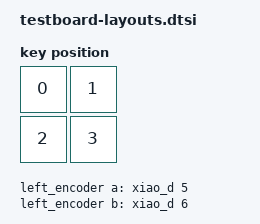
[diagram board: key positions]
// See https://zmk.dev/docs/development/hardware-integration/physical-layouts
// for how to configure this.

#include <physical_layouts.dtsi>

/ {
    default_layout: default_layout {
        compatible = "zmk,physical-layout";
        display-name = "Default Layout";
        transform = <&default_transform>;
        kscan = <&kscan>;

        // Edit this to define the positions and sizes of the keys, or remove it
        // if your keyboard will not support ZMK Studio.
        // https://zmk.dev/docs/development/hardware-integration/physical-layouts#optional-keys-property
        keys  //                     w   h    x    y     rot    rx    ry
            = <&key_physical_attrs 100 100    0    0       0     0     0>
            , <&key_physical_attrs 100 100  100    0       0     0     0>
            , <&key_physical_attrs 100 100    0  100       0     0     0>
            , <&key_physical_attrs 100 100  100  100       0     0     0>
            ;
    };
};

left_encoder: encoder_left {
    compatible = "alps,ec11";
    a-gpios = <&xiao_d 5 (GPIO_ACTIVE_HIGH | GPIO_PULL_UP)>;
    b-gpios = <&xiao_d 6 (GPIO_ACTIVE_HIGH | GPIO_PULL_UP)>;
    steps = <24>;
    status = "disabled";
};

sensors: sensors {
    compatible = "zmk,keymap-sensors";
    sensors = <&left_encoder>;
    triggers-per-rotation = <12>;
};
